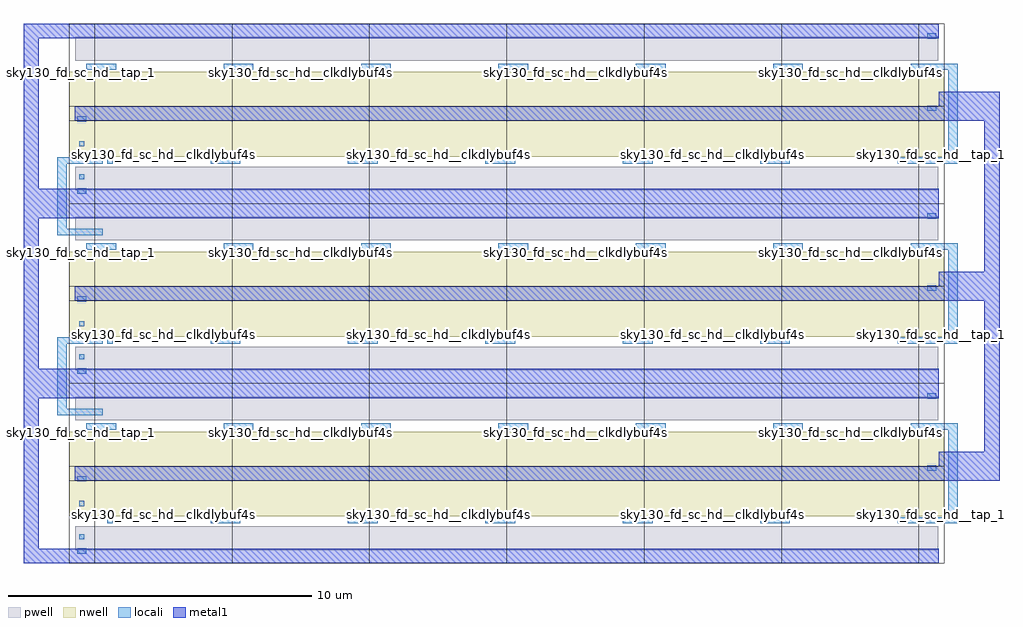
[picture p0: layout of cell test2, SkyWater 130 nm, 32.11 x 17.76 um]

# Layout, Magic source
magic
tech sky130A
magscale 1 2
<< locali >>
rect 223 2631 523 2673
rect 223 2201 283 2631
rect 223 2159 523 2201
rect 223 1447 523 1489
rect 223 1017 283 1447
rect 223 975 523 1017
<< metal1 >>
rect 6022 2912 6422 3104
rect 6322 1920 6422 2912
rect 6022 1728 6422 1920
rect 6322 736 6422 1728
rect 6022 544 6422 736
use sp_delay2x  sp_delay2x_0
transform 1 0 300 0 1 0
box -300 0 5846 1280
use sp_delay2x  sp_delay2x_1
transform 1 0 300 0 1 1184
box -300 0 5846 1280
use sp_delay2x  sp_delay2x_2
transform 1 0 300 0 1 2368
box -300 0 5846 1280
<< end >>

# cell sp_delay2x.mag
magic
tech sky130A
magscale 1 2
<< nwell >>
rect 0 309 5760 867
<< locali >>
rect 223 879 252 921
rect 5537 879 5846 921
rect 67 377 101 411
rect 5786 305 5846 879
rect 252 263 286 297
rect 5647 263 5846 305
rect 67 159 101 193
<< metal1 >>
rect -300 1088 38 1184
rect -300 96 -200 1088
rect -300 0 38 96
use sp_delay  sp_delay_0
transform 1 0 38 0 1 48
box -38 -48 5722 592
use sp_delay  sp_delay_1
transform -1 0 5722 0 -1 1136
box -38 -48 5722 592
<< labels >>
rlabel locali 67 377 101 411 5 VCC
port 1 s
rlabel locali 67 159 101 193 5 VSS
port 2 s
rlabel locali 252 263 286 297 5 VIN
port 3 s
rlabel locali 223 879 252 921 5 VOUT
port 4 s
<< end >>

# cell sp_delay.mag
magic
tech sky130A
magscale 1 2
<< pwell >>
rect 3 38 5681 195
<< locali >>
rect 17 491 75 527
rect 893 215 1089 257
rect 1797 215 1993 257
rect 2701 215 2897 257
rect 3605 215 3801 257
rect 4509 215 4705 257
rect 5413 215 5609 257
rect 17 17 75 53
<< metal1 >>
rect 0 496 5684 592
rect 0 -48 5684 48
use sky130_fd_sc_hd__clkdlybuf4s50_2  sky130_fd_sc_hd__clkdlybuf4s50_2_0 $PDKPATH/libs.ref/sky130_fd_sc_hd/mag
transform 1 0 168 0 1 0
box -38 -48 866 592
use sky130_fd_sc_hd__clkdlybuf4s50_2  sky130_fd_sc_hd__clkdlybuf4s50_2_1
transform 1 0 1072 0 1 0
box -38 -48 866 592
use sky130_fd_sc_hd__clkdlybuf4s50_2  sky130_fd_sc_hd__clkdlybuf4s50_2_2
transform 1 0 1976 0 1 0
box -38 -48 866 592
use sky130_fd_sc_hd__clkdlybuf4s50_2  sky130_fd_sc_hd__clkdlybuf4s50_2_3
transform 1 0 2880 0 1 0
box -38 -48 866 592
use sky130_fd_sc_hd__clkdlybuf4s50_2  sky130_fd_sc_hd__clkdlybuf4s50_2_4
transform 1 0 3784 0 1 0
box -38 -48 866 592
use sky130_fd_sc_hd__clkdlybuf4s50_2  sky130_fd_sc_hd__clkdlybuf4s50_2_5
transform 1 0 4688 0 1 0
box -38 -48 866 592
use sky130_fd_sc_hd__tap_1  sky130_fd_sc_hd__tap_1_0 $PDKPATH/libs.ref/sky130_fd_sc_hd/mag
transform 1 0 0 0 1 0
box -38 -48 130 592
use sky130_fd_sc_hd__tap_1  sky130_fd_sc_hd__tap_1_1
transform 1 0 5592 0 1 0
box -38 -48 130 592
<< end >>
